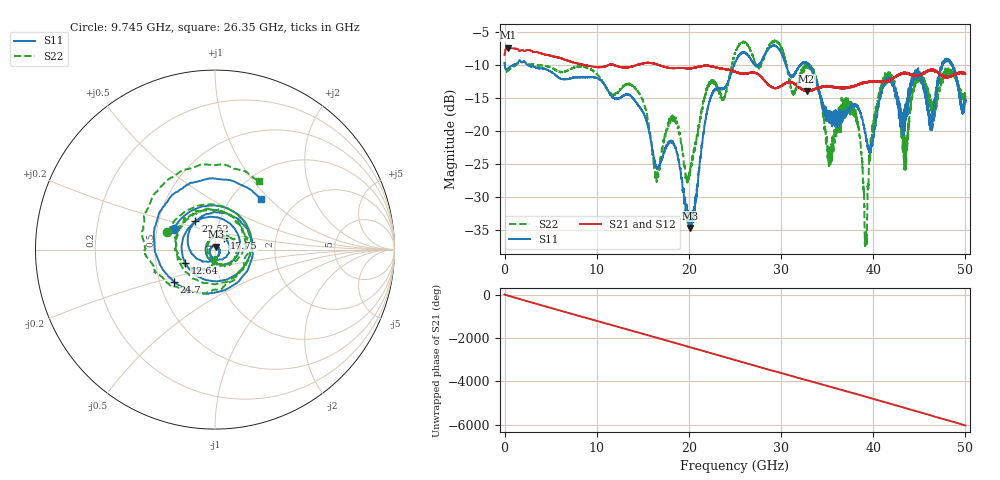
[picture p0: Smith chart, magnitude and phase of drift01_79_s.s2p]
!Created with skrf (http://scikit-rf.org).
# Hz S RI R 50.0
!freq ReS11 ImS11 ReS21 ImS21 ReS12 ImS12 ReS22 ImS22
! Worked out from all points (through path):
!   10001 points, 300 kHz to 50 GHz, reference 50 ohm
!   highest |S21| = -7.33 dB at 400.3 MHz (marker M1); lowest = -14.0 dB at 32.77 GHz (marker M2)
!   group delay of S21, straight-line fit = 335 ps
!   lowest |S11| = -34.7 dB at 20.15 GHz (marker M3), VSWR 1.04, Z = 50.7 + j1.73 ohm
!   |S11| at or under -10 dB: 2.566 GHz to 24.9 GHz (22.33 GHz wide, 163 % of centre); 30.53 GHz to 32.03 GHz (1.496 GHz wide, 4.78 % of centre); 33.08 GHz to 47.45 GHz (14.38 GHz wide, 35.7 % of centre) (the widest 3 of 21)
!   |S22| runs from -37.5 to -6.2 dB; largest |S21 - S12| = 0.011
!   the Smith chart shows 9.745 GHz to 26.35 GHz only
!   S11 on the Smith chart (normalised r, x): 9.745 GHz: 0.61, +0.15; 12.64 GHz: 0.71, -0.11; 17.75 GHz: 1.10, +0.14; 22.52 GHz: 0.77, +0.25; 24.7 GHz: 0.59, -0.24; 26.35 GHz: 1.36, +0.89
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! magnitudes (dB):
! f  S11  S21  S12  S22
! 300 kHz  -9.7  -8.4  -8.5  -9.5
! 400.3 MHz  -10.4  -7.3  -7.3  -10.8
! 8.335 GHz  -11.8  -9.8  -9.8  -10.2
! 9.745 GHz  -11.8  -10.2  -10.2  -10.9
! 12.64 GHz  -14.9  -10.3  -10.3  -13.5
! 16.67 GHz  -25.7  -9.9  -9.9  -26.9
! 17.75 GHz  -21.7  -10.4  -10.4  -19.0
! 20.15 GHz  -34.7  -10.5  -10.5  -26.0
! 22.52 GHz  -14.2  -10.2  -10.2  -12.3
! 24.7 GHz  -10.7  -10.8  -10.8  -9.8
! 25 GHz  -9.6  -11.0  -11.0  -8.2
! 26.35 GHz  -8.4  -11.2  -11.2  -6.9
! 32.77 GHz  -9.7  -14.0  -13.9  -10.1
! 33.34 GHz  -10.7  -13.8  -13.7  -10.5
! 35.28 GHz  -18.1  -13.2  -13.2  -22.8
! 37.97 GHz  -16.0  -13.2  -13.1  -17.2
! 39.2 GHz  -20.7  -12.6  -12.6  -36.4
! 40.09 GHz  -20.6  -12.5  -12.4  -17.5
! 41.67 GHz  -11.7  -12.3  -12.3  -12.4
! 43.45 GHz  -18.0  -11.2  -11.2  -22.1
! 44.89 GHz  -11.5  -11.6  -11.5  -12.3
! 50 GHz  -15.6  -11.3  -11.3  -14.9
